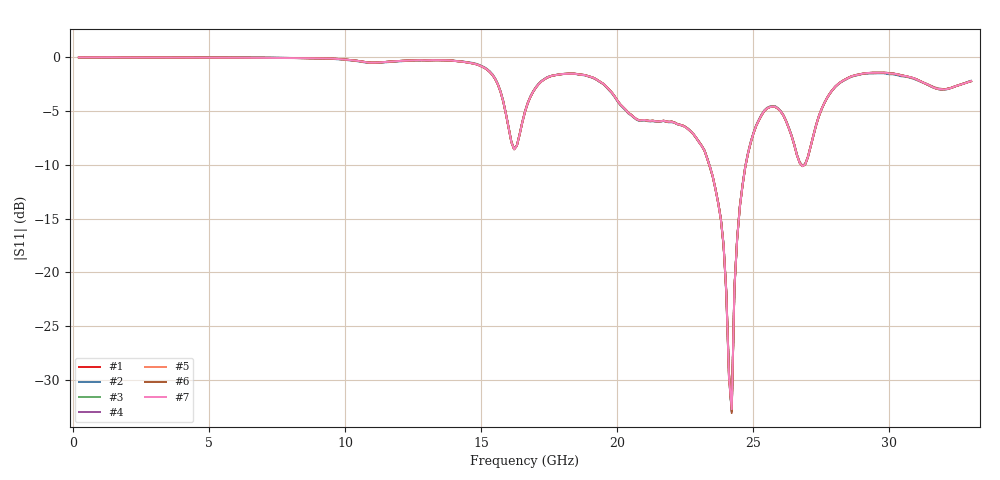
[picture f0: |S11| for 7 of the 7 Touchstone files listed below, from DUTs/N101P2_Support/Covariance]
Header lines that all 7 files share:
# GHZ S RI R 50
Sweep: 200 MHz to 33 GHz
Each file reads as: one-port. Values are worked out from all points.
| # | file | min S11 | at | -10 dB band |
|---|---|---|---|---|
| 1 | N101P2_1.s2p | -32.9 dB | 24.2 GHz | 1.342 GHz wide |
| 2 | N101P2_3.s2p | -32.9 dB | 24.2 GHz | 1.327 GHz wide |
| 3 | N101P2_5.s2p | -32.9 dB | 24.2 GHz | 1.343 GHz wide |
| 4 | N101P2_9.s2p | -32.8 dB | 24.2 GHz | 1.338 GHz wide |
| 5 | N101P2_11.s2p | -32.7 dB | 24.2 GHz | 1.344 GHz wide |
| 6 | N101P2_12.s2p | -33.1 dB | 24.2 GHz | 1.343 GHz wide |
| 7 | N101P2_14.s2p | -32.7 dB | 24.2 GHz | 1.338 GHz wide |
